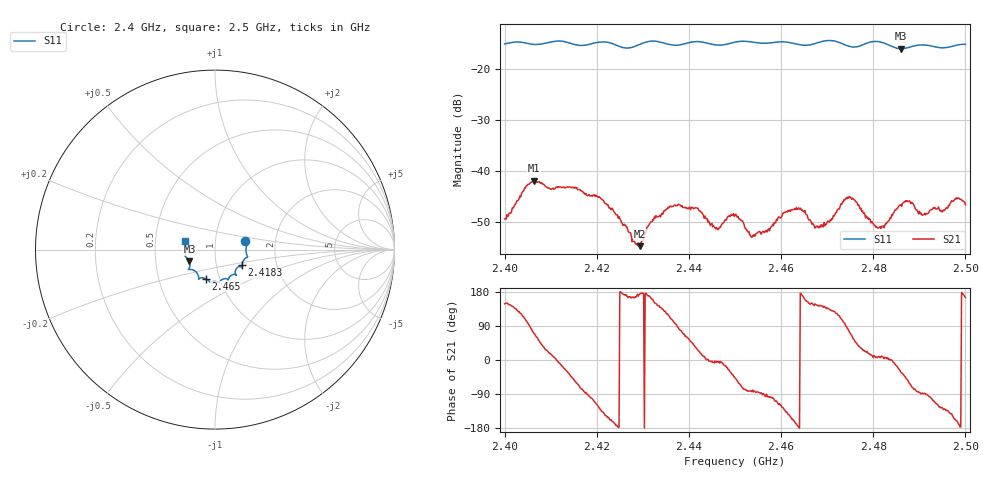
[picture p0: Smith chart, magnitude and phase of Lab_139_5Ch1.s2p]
# Hz S RI R 50
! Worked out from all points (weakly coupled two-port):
!   601 points, 2.4 GHz to 2.5 GHz, reference 50 ohm
!   highest |S21| = -41.88 dB at 2.4063 GHz (marker M1); lowest = -54.7 dB at 2.4293 GHz (marker M2)
!   lowest |S11| = -16.1 dB at 2.486 GHz (marker M3), VSWR 1.37, Z = 37.2 - j4.96 ohm
!   |S11| at or under -10 dB: start of sweep to end of sweep
!   S12 and S22 are empty: the file has one direction only
!   S11 on the Smith chart (normalised r, x): 2.4 GHz: 1.40, +0.13; 2.4183 GHz: 1.33, -0.24; 2.465 GHz: 0.86, -0.28; 2.5 GHz: 0.71, +0.07
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2.4e9  0.1688 0.0462  -0.0029 0.00179  0 0  0 0
2.406333e9  0.1729 0.0049  0.00258 0.00762  0 0  0 0
2.416667e9  0.1547 -0.0677  0.00152 -0.00624  0 0  0 0
2.418333e9  0.1498 -0.0869  -0.000563 -0.00586  0 0  0 0
2.421e9  0.1524 -0.1006  -0.00372 -0.00382  0 0  0 0
2.429333e9  0.1125 -0.1318  -0.00183 0.000179  0 0  0 0
2.433333e9  0.1177 -0.1412  -0.00287 0.00212  0 0  0 0
2.437333e9  0.0874 -0.1455  -0.000147 0.0046  0 0  0 0
2.4415e9  0.0745 -0.1684  0.00367 0.00241  0 0  0 0
2.446167e9  0.0524 -0.1624  0.0027 -0.000232  0 0  0 0
2.45e9  0.0257 -0.1801  0.00251 -0.00274  0 0  0 0
2.453833e9  0.0156 -0.1813  0.000437 -0.0023  0 0  0 0
2.461e9  -0.0297 -0.18  -0.00289 -0.00273  0 0  0 0
2.465e9  -0.0523 -0.1613  -0.0038 0.0012  0 0  0 0
2.466667e9  -0.0712 -0.1572  -0.00263 0.0015  0 0  0 0
2.47e9  -0.0914 -0.1649  -0.00232 0.00217  0 0  0 0
2.474667e9  -0.0981 -0.134  0.00115 0.00531  0 0  0 0
2.480667e9  -0.1481 -0.1107  0.00285 0.000413  0 0  0 0
2.483333e9  -0.1409 -0.0966  0.00326 7.83e-05  0 0  0 0
2.486e9  -0.1425 -0.065  0.00396 -0.00253  0 0  0 0
2.491e9  -0.1675 -0.0339  6.38e-05 -0.00378  0 0  0 0
2.5e9  -0.1667 0.0471  -0.00451 0.00121  0 0  0 0
